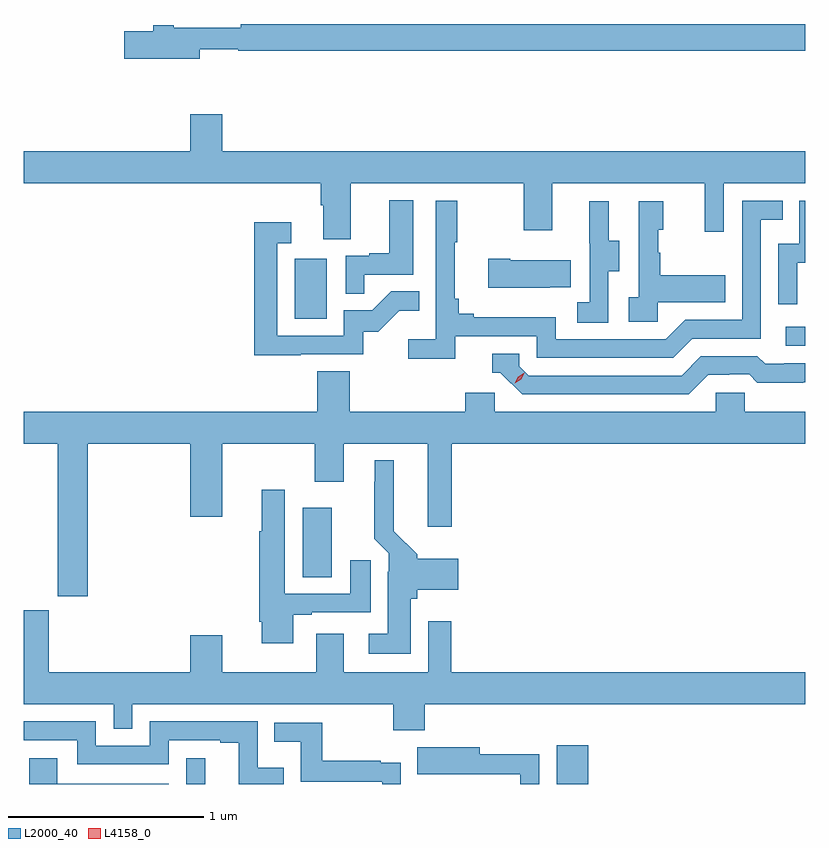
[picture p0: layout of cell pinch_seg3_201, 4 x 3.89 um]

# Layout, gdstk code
import gdstk
lib = gdstk.Library(unit=1e-6, precision=1e-09)
def R(c, l, rs):  # rectangles x0, y0, x1, y1
    for r in rs: c.add(gdstk.rectangle(r[:2], r[2:], *l))
def P(c, l, *ps):  # polygons
    for p in ps: c.add(gdstk.Polygon(p, *l))
L2000_40 = (2000, 40)
L4158_0 = (4158, 0)

pinch_seg3_201 = lib.new_cell('pinch_seg3_201')
R(pinch_seg3_201, L2000_40, [(968.184,741.799,968.281,741.931), (970.079,741.799,970.24,741.997), (968.78,742.858,968.929,743.212), (971.253,744.042,971.352,744.138), (968.738,744.18,968.902,744.487)])
P(pinch_seg3_201, L2000_40, [(968.254,745.56),(968.45,745.56),(968.45,745.552),(971.352,745.552),(971.352,745.688),(968.464,745.688),(968.464,745.669),(968.119,745.669),(968.119,745.682),(968.015,745.682),(968.015,745.652),(967.866,745.652),(967.866,745.51),(968.254,745.51)],
  [(969.025,744.872),(969.91,744.872),(969.91,744.633),(970.057,744.633),(970.057,744.872),(970.838,744.872),(970.838,744.624),(970.935,744.624),(970.935,744.872),(971.352,744.872),(971.352,745.036),(968.368,745.036),(968.368,745.225),(968.204,745.225),(968.204,745.036),(967.352,745.036),(967.352,744.872),(968.873,744.872),(968.873,744.76),(968.885,744.76),(968.885,744.586),(969.025,744.586)],
  [(969.095,744.405),(969.346,744.405),(969.346,744.787),(969.224,744.787),(969.224,744.514),(969.121,744.514),(969.121,744.501),(969,744.501),(969,744.307),(969.095,744.307)],
  [(969.56,744.09),(969.978,744.09),(969.978,743.979),(970.675,743.979),(970.774,744.078),(971.124,744.078),(971.124,744.687),(971.237,744.687),(971.237,744.783),(971.028,744.783),(971.028,744.174),(970.737,744.174),(970.638,744.075),(970.074,744.075),(970.074,744.187),(969.655,744.187),(969.655,744.206),(969.578,744.206),(969.578,744.283),(969.559,744.283),(969.559,744.571),(969.571,744.571),(969.571,744.784),(969.462,744.784),(969.462,744.076),(969.321,744.076),(969.321,743.974),(969.56,743.974)],
  [(971.31,744.467),(971.352,744.467),(971.352,744.783),(971.322,744.783),(971.322,744.564),(971.214,744.564),(971.214,744.255),(971.31,744.255)],
  [(970.344,744.424),(970.399,744.424),(970.399,744.579),(970.345,744.579),(970.345,744.781),(970.247,744.781),(970.247,744.567),(970.248,744.567),(970.248,744.263),(970.185,744.263),(970.185,744.16),(970.344,744.16)],
  [(970.596,744.263),(970.943,744.263),(970.943,744.403),(970.609,744.403),(970.609,744.518),(970.599,744.518),(970.599,744.636),(970.624,744.636),(970.624,744.781),(970.5,744.781),(970.5,744.29),(970.449,744.29),(970.449,744.165),(970.596,744.165)],
  [(968.771,743.997),(969.09,743.997),(969.09,744.114),(969.166,744.114),(969.273,744.221),(969.377,744.221),(969.377,744.32),(969.234,744.32),(969.136,744.222),(968.991,744.222),(968.991,744.093),(968.649,744.093),(968.649,744.567),(968.722,744.567),(968.722,744.673),(968.533,744.673),(968.533,743.992),(968.771,743.992)],
  [(970.043,744.341),(970.151,744.341),(970.151,744.478),(969.841,744.478),(969.841,744.486),(969.729,744.486),(969.729,744.338),(970.043,744.338)],
  [(970.855,743.892),(970.962,743.892),(970.962,743.895),(971.065,743.895),(971.107,743.853),(971.34,743.853),(971.34,743.855),(971.352,743.855),(971.352,743.952),(971.245,743.952),(971.245,743.949),(971.146,743.949),(971.107,743.988),(970.818,743.988),(970.719,743.889),(969.936,743.889),(969.888,743.937),(969.888,744),(969.749,744),(969.749,743.904),(969.792,743.904),(969.903,743.793),(970.756,743.793)],
  [(967.679,743.54),(968.204,743.54),(968.204,743.166),(968.368,743.166),(968.368,743.54),(968.842,743.54),(968.842,743.346),(968.989,743.346),(968.989,743.54),(969.419,743.54),(969.419,743.115),(969.542,743.115),(969.542,743.54),(971.352,743.54),(971.352,743.704),(971.043,743.704),(971.043,743.802),(970.893,743.802),(970.893,743.704),(969.762,743.704),(969.762,743.802),(969.611,743.802),(969.611,743.704),(969.02,743.704),(969.02,743.912),(968.855,743.912),(968.855,743.704),(967.352,743.704),(967.352,743.54),(967.526,743.54),(967.526,742.761),(967.679,742.761)],
  [(969.334,742.746),(969.365,742.746),(969.365,742.793),(969.577,742.793),(969.577,742.951),(969.365,742.951),(969.365,742.974),(969.247,743.092),(969.247,743.455),(969.149,743.455),(969.149,743.345),(969.145,743.345),(969.145,743.054),(969.219,742.98),(969.219,742.886),(969.215,742.886),(969.215,742.567),(969.117,742.567),(969.117,742.466),(969.334,742.466)],
  [(968.731,742.665),(968.827,742.665),(968.827,742.677),(969.127,742.677),(969.127,742.945),(969.023,742.945),(969.023,742.773),(968.689,742.773),(968.689,743.305),(968.57,743.305),(968.57,743.092),(968.558,743.092),(968.558,742.63),(968.57,742.63),(968.57,742.518),(968.731,742.518)],
  [(969.404,742.208),(971.352,742.208),(971.352,742.372),(969.539,742.372),(969.539,742.633),(969.423,742.633),(969.423,742.372),(968.989,742.372),(968.989,742.567),(968.849,742.567),(968.849,742.372),(968.368,742.372),(968.368,742.561),(968.204,742.561),(968.204,742.372),(967.48,742.372),(967.48,742.689),(967.352,742.689),(967.352,742.208),(967.812,742.208),(967.812,742.081),(967.908,742.081),(967.908,742.208),(969.244,742.208),(969.244,742.073),(969.404,742.073)],
  [(968.682,741.883),(968.55,741.883),(968.55,742.119),(967.998,742.119),(967.998,741.996),(967.722,741.996),(967.722,742.119),(967.352,742.119),(967.352,742.023),(967.626,742.023),(967.626,741.9),(968.094,741.9),(968.094,742.023),(968.357,742.023),(968.357,742.011),(968.453,742.011),(968.453,741.799),(968.682,741.799)],
  [(969.282,741.907),(969.179,741.907),(969.179,741.919),(968.881,741.919),(968.881,742.113),(968.635,742.113),(968.635,742.016),(968.77,742.016),(968.77,741.81),(969.186,741.81),(969.186,741.799),(969.282,741.799)],
  [(969.99,741.95),(969.685,741.95),(969.685,741.988),(969.367,741.988),(969.367,741.848),(969.581,741.848),(969.581,741.849),(969.894,741.849),(969.894,741.799),(969.99,741.799)],
  [(968.094,741.801),(967.525,741.801),(967.525,741.931),(967.381,741.931),(967.381,741.799),(968.094,741.799)])
P(pinch_seg3_201, L4158_0, [(969.866,743.85),(969.866,743.85),(969.882,743.883),(969.913,743.903),(969.913,743.903),(969.913,743.902),(969.897,743.869),(969.866,743.85)])

lib.write_gds('pinch_seg3_201.gds')
